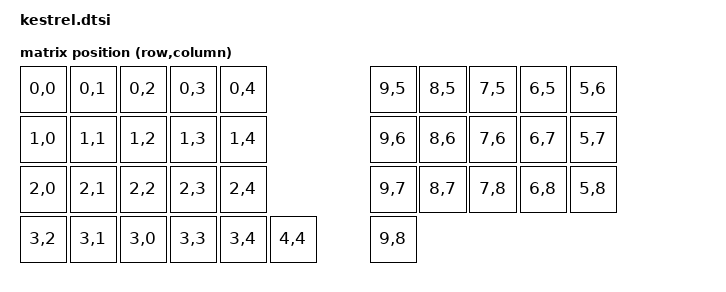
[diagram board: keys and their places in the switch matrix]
#include <dt-bindings/zmk/matrix_transform.h>
#include <dt-bindings/input/input-event-codes.h>
#include "kestrel-layouts.dtsi"
#include <input/processors.dtsi>
#include "kestrel_layer.dtsi"

/ {
    chosen {
        zmk,physical-layout = &default_layout;
        zmk,battery = &vbatt;
    };

    default_transform: keymap_transform_0 {
        compatible = "zmk,matrix-transform";
        columns = <9>;
        rows = <10>;
        map = <
        //sw1 sw2 sw3 sw4 sw5                                sw6 sw7 sw8 sw9 sw10
        RC(0,0) RC(0,1) RC(0,2) RC(0,3) RC(0,4)              RC(9,5) RC(8,5) RC(7,5) RC(6,5) RC(5,6)
        //sw11 sw12 sw13 sw14 sw15                           sw16 sw17 sw18 sw19 sw20
        RC(1,0) RC(1,1) RC(1,2) RC(1,3) RC(1,4)              RC(9,6) RC(8,6) RC(7,6) RC(6,7) RC(5,7)
        //sw21 sw22 sw23 sw24 sw25                           sw26 sw27 sw28 sw29 sw30
        RC(2,0) RC(2,1) RC(2,2) RC(2,3) RC(2,4)              RC(9,7) RC(8,7) RC(7,8) RC(6,8) RC(5,8)
        //up left center right down sw31                     sw32
        RC(3,2) RC(3,1) RC(3,0) RC(3,3) RC(3,4) RC(4,4)      RC(9,8)
        >;
    };


//    zip_temp_layer: zip_temp_layer {
//        compatible = "zmk,input-processor-temp-layer";
//        #input-processor-cells = <2>;
//        require-prior-idle-ms = <100>;
//        excluded-positions = <19 20 21 22 32 33 41 52 53 54 55 56 57 58 59>;
//    };

   vbatt: vbatt {
        compatible = "zmk,battery-voltage-divider";
        io-channels = <&adc 4>;
        output-ohms = <470000>;
        full-ohms = <(1000000 + 470000)>;
    };
};


&adc {
    status = "okay";
};

&i2c0 {
        status = "disabled";
};

&i2c1 {
        status = "disabled";
};
